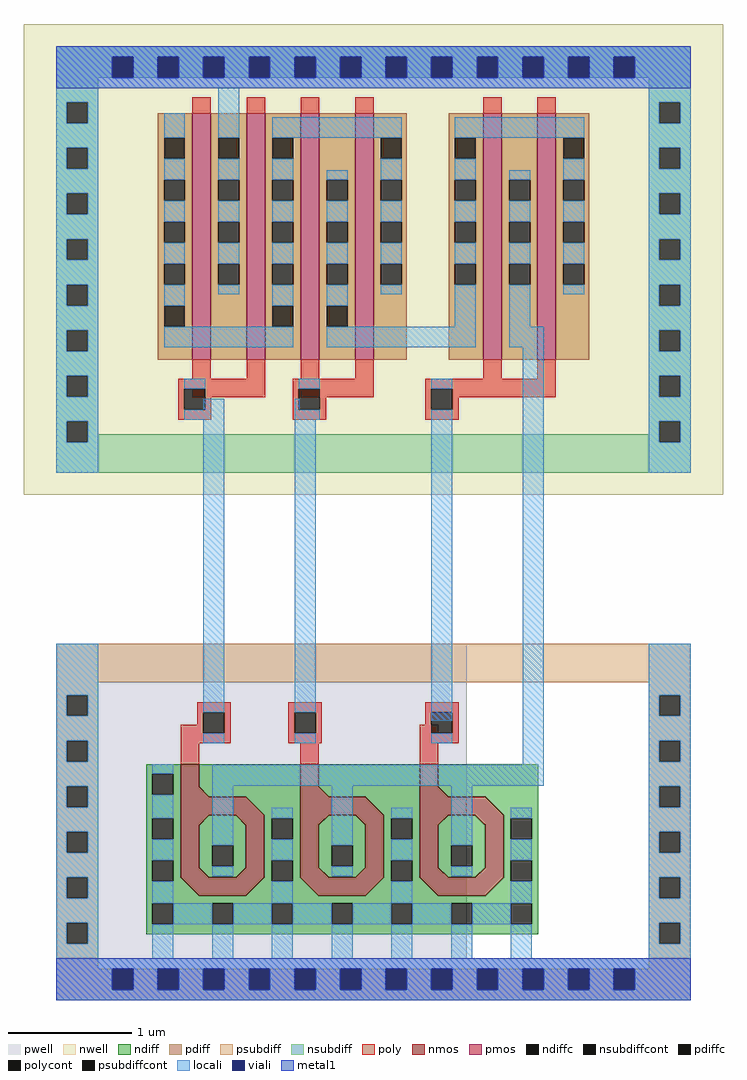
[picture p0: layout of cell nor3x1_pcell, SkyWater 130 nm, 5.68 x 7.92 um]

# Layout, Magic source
magic
tech sky130A
magscale 1 2
<< nwell >>
rect 87 786 953 1550
<< pwell >>
rect 34 34 632 544
rect 34 -34 928 34
<< pdiffc >>
rect 141 1331 175 1365
rect 229 1331 263 1365
rect 317 1331 351 1365
rect 493 1331 527 1365
rect 613 1331 647 1365
rect 789 1331 823 1365
rect 141 1059 175 1093
rect 317 1059 351 1093
rect 405 1059 439 1093
<< psubdiff >>
rect 34 482 928 544
rect 34 -17 57 17
rect 91 -17 131 17
rect 165 -17 205 17
rect 239 -17 279 17
rect 313 -17 353 17
rect 387 -17 427 17
rect 461 -17 501 17
rect 535 -17 575 17
rect 609 -17 649 17
rect 683 -17 723 17
rect 757 -17 797 17
rect 831 -17 871 17
rect 905 -17 928 17
rect 34 -34 928 -17
<< nsubdiff >>
rect 34 1497 928 1514
rect 34 1463 57 1497
rect 91 1463 131 1497
rect 165 1463 205 1497
rect 239 1463 279 1497
rect 313 1463 353 1497
rect 387 1463 427 1497
rect 461 1463 501 1497
rect 535 1463 575 1497
rect 609 1463 649 1497
rect 683 1463 723 1497
rect 757 1463 797 1497
rect 831 1463 871 1497
rect 905 1463 928 1497
rect 34 822 928 884
<< psubdiffcont >>
rect 57 -17 91 17
rect 131 -17 165 17
rect 205 -17 239 17
rect 279 -17 313 17
rect 353 -17 387 17
rect 427 -17 461 17
rect 501 -17 535 17
rect 575 -17 609 17
rect 649 -17 683 17
rect 723 -17 757 17
rect 797 -17 831 17
rect 871 -17 905 17
<< nsubdiffcont >>
rect 57 1463 91 1497
rect 131 1463 165 1497
rect 205 1463 239 1497
rect 279 1463 313 1497
rect 353 1463 387 1497
rect 427 1463 461 1497
rect 501 1463 535 1497
rect 575 1463 609 1497
rect 649 1463 683 1497
rect 723 1463 757 1497
rect 797 1463 831 1497
rect 871 1463 905 1497
<< poly >>
rect 619 944 659 974
rect 168 375 198 413
rect 362 382 392 383
rect 556 382 586 413
<< locali >>
rect 34 1497 928 1514
rect 34 1463 57 1497
rect 91 1463 131 1497
rect 165 1463 205 1497
rect 239 1463 279 1497
rect 313 1463 353 1497
rect 387 1463 427 1497
rect 461 1463 501 1497
rect 535 1463 575 1497
rect 609 1463 649 1497
rect 683 1463 723 1497
rect 757 1463 797 1497
rect 831 1463 871 1497
rect 905 1463 928 1497
rect 34 1446 928 1463
rect 141 1365 175 1405
rect 141 1313 175 1331
rect 229 1365 263 1446
rect 229 1313 263 1331
rect 317 1365 527 1399
rect 317 1313 351 1331
rect 493 1313 527 1331
rect 613 1365 823 1399
rect 613 1297 647 1331
rect 789 1297 823 1331
rect 141 1093 175 1111
rect 317 1093 351 1111
rect 141 1025 351 1059
rect 405 1093 439 1111
rect 613 1059 647 1111
rect 405 1025 647 1059
rect 701 1059 735 1111
rect 701 1025 757 1059
rect 205 433 239 942
rect 353 908 361 942
rect 353 441 387 908
rect 353 433 357 441
rect 575 419 609 908
rect 723 348 757 1025
rect 219 314 757 348
rect 219 233 253 314
rect 413 233 447 314
rect 607 234 641 314
rect 122 34 156 73
rect 219 34 253 89
rect 316 34 350 73
rect 413 34 447 89
rect 510 34 544 73
rect 607 34 641 89
rect 704 34 738 89
rect 34 17 928 34
rect 34 -17 57 17
rect 91 -17 131 17
rect 165 -17 205 17
rect 239 -17 279 17
rect 313 -17 353 17
rect 387 -17 427 17
rect 461 -17 501 17
rect 535 -17 575 17
rect 609 -17 649 17
rect 683 -17 723 17
rect 757 -17 797 17
rect 831 -17 871 17
rect 905 -17 928 17
rect 34 -34 928 -17
<< viali >>
rect 57 1463 91 1497
rect 131 1463 165 1497
rect 205 1463 239 1497
rect 279 1463 313 1497
rect 353 1463 387 1497
rect 427 1463 461 1497
rect 501 1463 535 1497
rect 575 1463 609 1497
rect 649 1463 683 1497
rect 723 1463 757 1497
rect 797 1463 831 1497
rect 871 1463 905 1497
rect 57 -17 91 17
rect 131 -17 165 17
rect 205 -17 239 17
rect 279 -17 313 17
rect 353 -17 387 17
rect 427 -17 461 17
rect 501 -17 535 17
rect 575 -17 609 17
rect 649 -17 683 17
rect 723 -17 757 17
rect 797 -17 831 17
rect 871 -17 905 17
<< metal1 >>
rect 34 1497 928 1514
rect 34 1463 57 1497
rect 91 1463 131 1497
rect 165 1463 205 1497
rect 239 1463 279 1497
rect 313 1463 353 1497
rect 387 1463 427 1497
rect 461 1463 501 1497
rect 535 1463 575 1497
rect 609 1463 649 1497
rect 683 1463 723 1497
rect 757 1463 797 1497
rect 831 1463 871 1497
rect 905 1463 928 1497
rect 34 1446 928 1463
rect 34 17 928 34
rect 34 -17 57 17
rect 91 -17 131 17
rect 165 -17 205 17
rect 239 -17 279 17
rect 313 -17 353 17
rect 387 -17 427 17
rect 461 -17 501 17
rect 535 -17 575 17
rect 609 -17 649 17
rect 683 -17 723 17
rect 757 -17 797 17
rect 831 -17 871 17
rect 905 -17 928 17
rect 34 -34 928 -17
use diff_ring_side  diff_ring_side_0
transform 1 0 962 0 1 0
box -87 -34 87 1550
use diff_ring_side  diff_ring_side_1
transform 1 0 0 0 1 0
box -87 -34 87 1550
use nmos_top_trim1  nmos_top_trim1_1
transform -1 0 360 0 1 73
box 0 0 248 309
use nmos_top_trim2  nmos_top_trim2_0
transform -1 0 554 0 1 73
box 0 0 248 309
use nmos_top_trim2  nmos_top_trim2_1
transform -1 0 748 0 1 73
box 0 0 248 309
use pmos2_1  pmos2_1_0
transform 1 0 43 0 1 1404
box 52 -460 352 37
use pmos2_1  pmos2_1_1
transform 1 0 219 0 1 1404
box 52 -460 352 37
use pmos2_1  pmos2_1_2
transform 1 0 515 0 1 1404
box 52 -460 352 37
use poly_li1_contact  poly_li1_contact_0
transform 0 1 192 -1 0 942
box -32 -28 34 26
use poly_li1_contact  poly_li1_contact_1
transform 0 1 223 -1 0 417
box -32 -28 34 26
use poly_li1_contact  poly_li1_contact_2
transform 0 -1 369 1 0 415
box -32 -28 34 26
use poly_li1_contact  poly_li1_contact_3
transform 0 1 378 -1 0 942
box -32 -28 34 26
use poly_li1_contact  poly_li1_contact_4
transform 0 -1 591 1 0 415
box -32 -28 34 26
use poly_li1_contact  poly_li1_contact_5
transform 0 1 593 -1 0 942
box -32 -28 34 26
<< end >>

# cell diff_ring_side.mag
magic
tech sky130A
magscale 1 2
<< nwell >>
rect -87 786 87 1550
<< pwell >>
rect -34 -34 34 544
<< psubdiff >>
rect -34 461 34 544
rect -34 427 -17 461
rect 17 427 34 461
rect -34 387 34 427
rect -34 353 -17 387
rect 17 353 34 387
rect -34 313 34 353
rect -34 279 -17 313
rect 17 279 34 313
rect -34 239 34 279
rect -34 205 -17 239
rect 17 205 34 239
rect -34 165 34 205
rect -34 131 -17 165
rect 17 131 34 165
rect -34 91 34 131
rect -34 57 -17 91
rect 17 57 34 91
rect -34 -34 34 57
<< nsubdiff >>
rect -34 1423 34 1514
rect -34 1389 -17 1423
rect 17 1389 34 1423
rect -34 1349 34 1389
rect -34 1315 -17 1349
rect 17 1315 34 1349
rect -34 1275 34 1315
rect -34 1241 -17 1275
rect 17 1241 34 1275
rect -34 1201 34 1241
rect -34 1167 -17 1201
rect 17 1167 34 1201
rect -34 1127 34 1167
rect -34 1093 -17 1127
rect 17 1093 34 1127
rect -34 1053 34 1093
rect -34 1019 -17 1053
rect 17 1019 34 1053
rect -34 979 34 1019
rect -34 945 -17 979
rect 17 945 34 979
rect -34 905 34 945
rect -34 871 -17 905
rect 17 871 34 905
rect -34 822 34 871
<< psubdiffcont >>
rect -17 427 17 461
rect -17 353 17 387
rect -17 279 17 313
rect -17 205 17 239
rect -17 131 17 165
rect -17 57 17 91
<< nsubdiffcont >>
rect -17 1389 17 1423
rect -17 1315 17 1349
rect -17 1241 17 1275
rect -17 1167 17 1201
rect -17 1093 17 1127
rect -17 1019 17 1053
rect -17 945 17 979
rect -17 871 17 905
<< locali >>
rect -34 1423 34 1514
rect -34 1389 -17 1423
rect 17 1389 34 1423
rect -34 1349 34 1389
rect -34 1315 -17 1349
rect 17 1315 34 1349
rect -34 1275 34 1315
rect -34 1241 -17 1275
rect 17 1241 34 1275
rect -34 1201 34 1241
rect -34 1167 -17 1201
rect 17 1167 34 1201
rect -34 1127 34 1167
rect -34 1093 -17 1127
rect 17 1093 34 1127
rect -34 1053 34 1093
rect -34 1019 -17 1053
rect 17 1019 34 1053
rect -34 979 34 1019
rect -34 945 -17 979
rect 17 945 34 979
rect -34 905 34 945
rect -34 871 -17 905
rect 17 871 34 905
rect -34 822 34 871
rect -34 461 34 544
rect -34 427 -17 461
rect 17 427 34 461
rect -34 387 34 427
rect -34 353 -17 387
rect 17 353 34 387
rect -34 313 34 353
rect -34 279 -17 313
rect 17 279 34 313
rect -34 239 34 279
rect -34 205 -17 239
rect 17 205 34 239
rect -34 165 34 205
rect -34 131 -17 165
rect 17 131 34 165
rect -34 91 34 131
rect -34 57 -17 91
rect 17 57 34 91
rect -34 -34 34 57
<< metal1 >>
rect -34 1446 34 1514
rect -34 -34 34 34
<< end >>

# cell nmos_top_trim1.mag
magic
tech sky130
magscale 1 2
<< nmos >>
tri 146 223 162 239 se
rect 162 223 192 276
tri 56 193 86 223 se
rect 86 193 192 223
rect 56 92 86 193
tri 86 177 102 193 nw
tri 146 177 162 193 ne
tri 86 92 102 108 sw
tri 146 92 162 108 se
rect 162 92 192 193
tri 56 62 86 92 ne
rect 86 62 162 92
tri 162 62 192 92 nw
<< ndiff >>
rect 0 239 162 276
rect 0 223 146 239
tri 146 223 162 239 nw
rect 192 260 248 276
rect 192 226 204 260
rect 238 226 248 260
rect 0 188 56 223
tri 56 193 86 223 nw
rect 0 154 10 188
rect 44 154 56 188
rect 0 120 56 154
rect 0 86 10 120
rect 44 86 56 120
tri 86 177 102 193 se
rect 102 177 146 193
tri 146 177 162 193 sw
rect 86 144 162 177
rect 86 110 107 144
rect 141 110 162 144
rect 86 108 162 110
tri 86 92 102 108 ne
rect 102 92 146 108
tri 146 92 162 108 nw
rect 192 188 248 226
rect 192 154 204 188
rect 238 154 248 188
rect 192 120 248 154
rect 0 62 56 86
tri 56 62 86 92 sw
tri 162 62 192 92 se
rect 192 86 204 120
rect 238 86 248 120
rect 192 62 248 86
rect 0 50 248 62
rect 0 16 10 50
rect 44 16 107 50
rect 141 16 204 50
rect 238 16 248 50
rect 0 0 248 16
<< ndiffc >>
rect 204 226 238 260
rect 10 154 44 188
rect 10 86 44 120
rect 107 110 141 144
rect 204 154 238 188
rect 204 86 238 120
rect 10 16 44 50
rect 107 16 141 50
rect 204 16 238 50
<< poly >>
rect 162 276 192 309
<< locali >>
rect 204 260 238 276
rect 10 188 44 204
rect 204 188 238 226
rect 10 120 44 154
rect 107 144 141 161
rect 107 94 141 110
rect 204 120 238 154
rect 10 50 44 86
rect 204 50 238 86
rect 44 16 107 50
rect 141 16 204 50
rect 10 0 44 16
rect 204 0 238 16
<< end >>

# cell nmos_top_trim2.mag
magic
tech sky130A
magscale 1 2
<< nmos >>
tri 146 223 162 239 se
rect 162 223 192 276
tri 56 193 86 223 se
rect 86 193 192 223
rect 56 178 87 193
tri 87 178 102 193 nw
tri 146 178 161 193 ne
rect 161 178 192 193
rect 56 92 86 178
tri 86 92 102 108 sw
tri 146 92 162 108 se
rect 162 92 192 178
tri 56 62 86 92 ne
rect 86 62 162 92
tri 162 62 192 92 nw
<< ndiff >>
rect 0 239 162 276
rect 0 223 146 239
tri 146 223 162 239 nw
rect 0 188 56 223
tri 56 193 86 223 nw
rect 0 154 10 188
rect 44 154 56 188
tri 87 178 102 193 se
rect 102 178 146 193
tri 146 178 161 193 sw
rect 192 188 248 276
rect 0 120 56 154
rect 0 86 10 120
rect 44 86 56 120
rect 86 144 162 178
rect 86 110 107 144
rect 141 110 162 144
rect 86 108 162 110
tri 86 92 102 108 ne
rect 102 92 146 108
tri 146 92 162 108 nw
rect 192 154 204 188
rect 238 154 248 188
rect 192 120 248 154
rect 0 62 56 86
tri 56 62 86 92 sw
tri 162 62 192 92 se
rect 192 86 204 120
rect 238 86 248 120
rect 192 62 248 86
rect 0 50 248 62
rect 0 16 10 50
rect 44 16 107 50
rect 141 16 204 50
rect 238 16 248 50
rect 0 0 248 16
<< ndiffc >>
rect 10 154 44 188
rect 10 86 44 120
rect 107 110 141 144
rect 204 154 238 188
rect 204 86 238 120
rect 10 16 44 50
rect 107 16 141 50
rect 204 16 238 50
<< poly >>
rect 162 276 192 309
<< locali >>
rect 10 188 44 205
rect 204 188 238 205
rect 10 120 44 154
rect 107 144 141 161
rect 107 94 141 110
rect 204 120 238 154
rect 10 50 44 86
rect 204 50 238 86
rect 44 16 107 50
rect 141 16 204 50
rect 10 0 44 16
rect 204 0 238 16
<< end >>

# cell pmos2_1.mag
magic
tech sky130A
magscale 1 2
<< nwell >>
rect 52 -435 352 37
<< pmos >>
rect 144 -399 174 1
rect 232 -399 262 1
<< pdiff >>
rect 88 -107 144 1
rect 88 -141 98 -107
rect 132 -141 144 -107
rect 88 -175 144 -141
rect 88 -209 98 -175
rect 132 -209 144 -175
rect 88 -243 144 -209
rect 88 -277 98 -243
rect 132 -277 144 -243
rect 88 -399 144 -277
rect 174 -107 232 1
rect 174 -141 186 -107
rect 220 -141 232 -107
rect 174 -175 232 -141
rect 174 -209 186 -175
rect 220 -209 232 -175
rect 174 -243 232 -209
rect 174 -277 186 -243
rect 220 -277 232 -243
rect 174 -399 232 -277
rect 262 -107 316 1
rect 262 -141 274 -107
rect 308 -141 316 -107
rect 262 -175 316 -141
rect 262 -209 274 -175
rect 308 -209 316 -175
rect 262 -243 316 -209
rect 262 -277 274 -243
rect 308 -277 316 -243
rect 262 -399 316 -277
<< pdiffc >>
rect 98 -141 132 -107
rect 98 -209 132 -175
rect 98 -277 132 -243
rect 186 -141 220 -107
rect 186 -209 220 -175
rect 186 -277 220 -243
rect 274 -141 308 -107
rect 274 -209 308 -175
rect 274 -277 308 -243
<< poly >>
rect 144 1 174 27
rect 232 1 262 27
rect 144 -430 174 -399
rect 232 -430 262 -399
rect 144 -460 262 -430
<< locali >>
rect 98 -107 132 -91
rect 98 -175 132 -141
rect 98 -243 132 -209
rect 98 -293 132 -277
rect 186 -107 220 -91
rect 186 -175 220 -141
rect 186 -243 220 -209
rect 186 -293 220 -277
rect 274 -107 308 -91
rect 274 -175 308 -141
rect 274 -243 308 -209
rect 274 -293 308 -277
<< end >>

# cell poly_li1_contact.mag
magic
tech sky130
<< poly >>
rect -16 8 17 13
rect -16 -9 -8 8
rect 9 -9 17 8
rect -16 -14 17 -9
<< polycont >>
rect -8 -9 9 8
<< locali >>
rect -16 -9 -8 8
rect 9 -9 17 8
<< end >>
